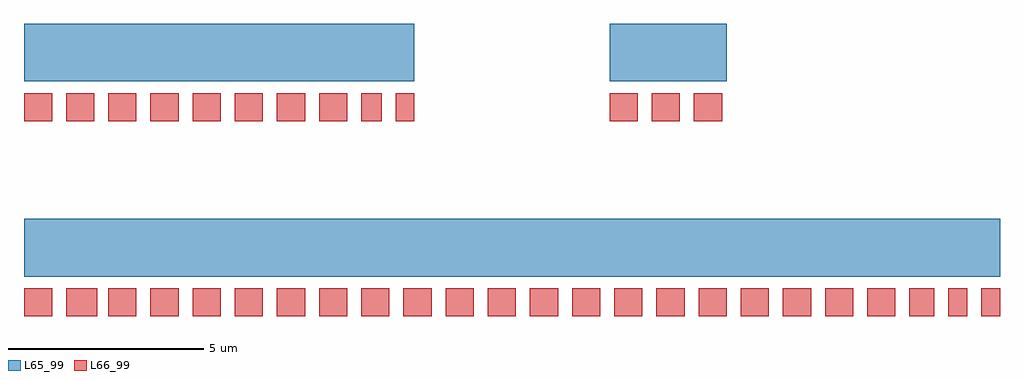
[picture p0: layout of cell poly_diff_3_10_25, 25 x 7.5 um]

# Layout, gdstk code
import gdstk
lib = gdstk.Library(unit=1e-6, precision=1e-09)
def R(c, l, rs):  # rectangles x0, y0, x1, y1
    for r in rs: c.add(gdstk.rectangle(r[:2], r[2:], *l))
def A(c, l, x, y, w, h, nx, ny, dx, dy):  # array of equal rectangles
    R(c, l, [(x+i*dx, y+j*dy, x+i*dx+w, y+j*dy+h) for i in range(nx) for j in range(ny)])
L65_99 = (65, 99)
L66_99 = (66, 99)

poly_diff_25_fillcell = lib.new_cell('poly_diff_25_FILLCELL')
R(poly_diff_25_fillcell, L65_99, [(0,1.02,25,2.5)])
A(poly_diff_25_fillcell, L66_99, 0, 0, 0.72, 0.72, 21, 1, 1.08, 0)
R(poly_diff_25_fillcell, L66_99, [(22.68,0,23.32,0.72), (23.68,0,24.16,0.72), (24.52,0,25,0.72)])

poly_diff_10_fillcell = lib.new_cell('poly_diff_10_FILLCELL')
R(poly_diff_10_fillcell, L65_99, [(0,1.02,10,2.5)])
A(poly_diff_10_fillcell, L66_99, 0, 0, 0.72, 0.72, 8, 1, 1.08, 0)
R(poly_diff_10_fillcell, L66_99, [(8.64,0,9.16,0.72), (9.52,0,10,0.72)])

poly_diff_3_fillcell = lib.new_cell('poly_diff_3_FILLCELL')
R(poly_diff_3_fillcell, L65_99, [(0,1.02,3,2.5)])
A(poly_diff_3_fillcell, L66_99, 0, 0, 0.72, 0.72, 3, 1, 1.08, 0)

poly_diff_3_10_25 = lib.new_cell('poly_diff_3_10_25')
R(poly_diff_3_10_25, L66_99, [(1.15,0,1.87,0.72)])
poly_diff_3_10_25.add(gdstk.Reference(poly_diff_25_fillcell, (0,0)))
poly_diff_3_10_25.add(gdstk.Reference(poly_diff_10_fillcell, (0,5)))
poly_diff_3_10_25.add(gdstk.Reference(poly_diff_3_fillcell, (15,5)))

lib.write_gds('poly_diff_3_10_25.gds')
